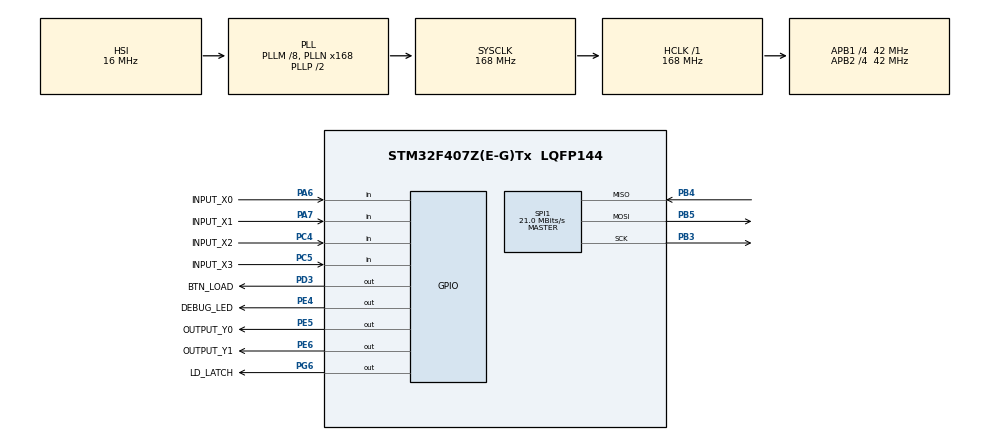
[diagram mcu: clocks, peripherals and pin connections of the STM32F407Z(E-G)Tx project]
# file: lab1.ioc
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Mcu.Family=STM32F4
Mcu.Name=STM32F407Z(E-G)Tx
Mcu.Package=LQFP144
NVIC.PriorityGroup=NVIC_PRIORITYGROUP_4
NVIC.TIM2_IRQn=true\:0\:0\:false\:false\:true\:true\:true
PA13.Mode=Serial_Wire
PA13.Signal=SYS_JTMS-SWDIO
PA14.Mode=Serial_Wire
PA14.Signal=SYS_JTCK-SWCLK
PA6.GPIO_Label=INPUT_X0
PA6.Signal=GPIO_Input
PA7.GPIO_Label=INPUT_X1
PA7.Signal=GPIO_Input
PB3.Mode=Full_Duplex_Master
PB3.Signal=SPI1_SCK
PB4.Mode=Full_Duplex_Master
PB4.Signal=SPI1_MISO
PB5.Mode=Full_Duplex_Master
PB5.Signal=SPI1_MOSI
PC4.GPIO_Label=INPUT_X2
PC4.Signal=GPIO_Input
PC5.GPIO_Label=INPUT_X3
PC5.Signal=GPIO_Input
PD3.GPIO_Label=BTN_LOAD
PD3.Signal=GPIO_Output
PE4.GPIO_Label=DEBUG_LED
PE4.Signal=GPIO_Output
PE5.GPIO_Label=OUTPUT_Y0
PE5.Signal=GPIO_Output
PE6.GPIO_Label=OUTPUT_Y1
PE6.Signal=GPIO_Output
PG6.GPIO_Label=LD_LATCH
PG6.Signal=GPIO_Output
PH0-OSC_IN.Mode=HSE-External-Oscillator
PH0-OSC_IN.Signal=RCC_OSC_IN
PH1-OSC_OUT.Mode=HSE-External-Oscillator
PH1-OSC_OUT.Signal=RCC_OSC_OUT
ProjectManager.HeapSize=0x200
ProjectManager.StackSize=0x400
ProjectManager.TargetToolchain=STM32CubeIDE
RCC.48MHZClocksFreq_Value=84000000
RCC.AHBFreq_Value=168000000
RCC.APB1CLKDivider=RCC_HCLK_DIV4
RCC.APB1Freq_Value=42000000
RCC.APB1TimFreq_Value=84000000
RCC.APB2CLKDivider=RCC_HCLK_DIV4
RCC.APB2Freq_Value=42000000
RCC.APB2TimFreq_Value=84000000
RCC.CortexFreq_Value=168000000
RCC.HCLKFreq_Value=168000000
RCC.HSE_VALUE=8000000
RCC.HSI_VALUE=16000000
RCC.LSE_VALUE=32768
RCC.PLLM=8
RCC.PLLN=168
RCC.SYSCLKFreq_VALUE=168000000
RCC.SYSCLKSource=RCC_SYSCLKSOURCE_PLLCLK
RCC.VCOOutputFreq_Value=336000000
SPI1.CalculateBaudRate=21.0 MBits/s
SPI1.Direction=SPI_DIRECTION_2LINES
SPI1.Mode=SPI_MODE_MASTER
SPI1.VirtualType=VM_MASTER
TIM2.Period=100-1
TIM2.Prescaler=840-1
VP_TIM2_VS_ClockSourceINT.Mode=Internal
board=custom

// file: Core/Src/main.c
/* USER CODE BEGIN Header */
/**
  ******************************************************************************
  * @file           : main.c
  * @brief          : Main program body
  ******************************************************************************
  * @attention
  *
  * <h2><center>&copy; Copyright (c) 2024 STMicroelectronics.
  * All rights reserved.</center></h2>
  *
  * This software component is licensed by ST under BSD 3-Clause license,
  * the "License"; You may not use this file except in compliance with the
  * License. You may obtain a copy of the License at:
  *                        opensource.org/licenses/BSD-3-Clause
  *
  ******************************************************************************
  */
/* USER CODE END Header */
#include "main.h"

/* USER CODE BEGIN PD */
#define COUNT_UP      0
#define COUNT_DOWN    1
#define RED           0
#define GREEN         1
#define YELLOW        2
#define RED_TIMER     5
#define GREEN_TIMER   3
#define YELLOW_TIMER  1

#define LAB1          1000
#define LAB2          2000
/* USER CODE END PD */

SPI_HandleTypeDef hspi1;

TIM_HandleTypeDef htim2;

void SystemClock_Config(void);
static void MX_GPIO_Init(void);
static void MX_TIM2_Init(void);
static void MX_SPI1_Init(void);

/* USER CODE BEGIN 0 */
int traffic_counter = 0;
int traffic_mode = RED;

void red_on() {
	HAL_GPIO_WritePin(DEBUG_LED_GPIO_Port, DEBUG_LED_Pin, GPIO_PIN_SET);
	HAL_GPIO_WritePin(OUTPUT_Y0_GPIO_Port, OUTPUT_Y0_Pin, GPIO_PIN_RESET);
	HAL_GPIO_WritePin(OUTPUT_Y1_GPIO_Port, OUTPUT_Y1_Pin, GPIO_PIN_RESET);
}

void yellow_on() {
	HAL_GPIO_WritePin(DEBUG_LED_GPIO_Port, DEBUG_LED_Pin, GPIO_PIN_RESET);
	HAL_GPIO_WritePin(OUTPUT_Y0_GPIO_Port, OUTPUT_Y0_Pin, GPIO_PIN_SET);
	HAL_GPIO_WritePin(OUTPUT_Y1_GPIO_Port, OUTPUT_Y1_Pin, GPIO_PIN_RESET);
}

void green_on() {
	HAL_GPIO_WritePin(DEBUG_LED_GPIO_Port, DEBUG_LED_Pin, GPIO_PIN_RESET);
	HAL_GPIO_WritePin(OUTPUT_Y0_GPIO_Port, OUTPUT_Y0_Pin, GPIO_PIN_RESET);
	HAL_GPIO_WritePin(OUTPUT_Y1_GPIO_Port, OUTPUT_Y1_Pin, GPIO_PIN_SET);
}
/* USER CODE END 0 */

int main(void)
{

  /* MCU Configuration--------------------------------------------------------*/

  /* Reset of all peripherals, Initializes the Flash interface and the Systick. */
  HAL_Init();

  /* Configure the system clock */
  SystemClock_Config();

  /* Initialize all configured peripherals */
  MX_GPIO_Init();
  MX_TIM2_Init();
  MX_SPI1_Init();

  /* Infinite loop */
  /* USER CODE BEGIN WHILE */
  int exercise = 3;
  int counter = 0;
  int mode = COUNT_UP;

  int traffic_mode = RED;
  int traffic_counter = 0;
  while (1)
  {
    /* USER CODE END WHILE */

    /* USER CODE BEGIN 3 */
  #ifdef LAB1
    if (exercise == 1) {
      HAL_GPIO_WritePin(DEBUG_LED_GPIO_Port, DEBUG_LED_Pin, GPIO_PIN_RESET);
      HAL_Delay(4000);
      HAL_GPIO_WritePin(DEBUG_LED_GPIO_Port, DEBUG_LED_Pin, GPIO_PIN_SET);
      HAL_Delay(2000);
    } else if (exercise == 2) {
      if (mode == COUNT_UP) {
        if (counter == 4) {
          mode = COUNT_DOWN;
          counter = 0;
        } else {
          HAL_GPIO_WritePin(DEBUG_LED_GPIO_Port, DEBUG_LED_Pin, GPIO_PIN_RESET);
          counter++;
        }
      } else if (mode == COUNT_DOWN) {
        if (counter == 2) {
          mode = COUNT_UP;
          counter = 0;
        } else {
          HAL_GPIO_WritePin(DEBUG_LED_GPIO_Port, DEBUG_LED_Pin, GPIO_PIN_SET);
          counter++;
        }
      }
      HAL_Delay(1000);
    } else if (exercise == 3) {
      traffic_counter++;
      if (traffic_mode == RED) {
        red_on();
        if (traffic_counter == RED_TIMER) {
          traffic_mode = GREEN;
          traffic_counter = 0;
          green_on();
        }
      } else if (traffic_mode == GREEN) {
        green_on();
        if (traffic_counter == GREEN_TIMER) {
          traffic_mode = YELLOW;
          traffic_counter = 0;
          yellow_on();
        }
      } else if (traffic_mode == YELLOW) {
        yellow_on();
        if (traffic_counter == YELLOW_TIMER) {
          traffic_mode = RED;
          traffic_counter = 0;
          red_on();
        }
      }
      HAL_Delay(1000);
    }
  #endif

  #ifdef LAB2

  #endif
  }
  /* USER CODE END 3 */
}

void SystemClock_Config(void)
{
  RCC_OscInitTypeDef RCC_OscInitStruct = {0};
  RCC_ClkInitTypeDef RCC_ClkInitStruct = {0};

  /** Configure the main internal regulator output voltage
  */
  __HAL_RCC_PWR_CLK_ENABLE();
  __HAL_PWR_VOLTAGESCALING_CONFIG(PWR_REGULATOR_VOLTAGE_SCALE1);
  /** Initializes the RCC Oscillators according to the specified parameters
  * in the RCC_OscInitTypeDef structure.
  */
  RCC_OscInitStruct.OscillatorType = RCC_OSCILLATORTYPE_HSI;
  RCC_OscInitStruct.HSIState = RCC_HSI_ON;
  RCC_OscInitStruct.HSICalibrationValue = RCC_HSICALIBRATION_DEFAULT;
  RCC_OscInitStruct.PLL.PLLState = RCC_PLL_ON;
  RCC_OscInitStruct.PLL.PLLSource = RCC_PLLSOURCE_HSI;
  RCC_OscInitStruct.PLL.PLLM = 8;
  RCC_OscInitStruct.PLL.PLLN = 168;
  RCC_OscInitStruct.PLL.PLLP = RCC_PLLP_DIV2;
  RCC_OscInitStruct.PLL.PLLQ = 4;
  if (HAL_RCC_OscConfig(&RCC_OscInitStruct) != HAL_OK)
  {
    Error_Handler();
  }
  /** Initializes the CPU, AHB and APB buses clocks
  */
  RCC_ClkInitStruct.ClockType = RCC_CLOCKTYPE_HCLK|RCC_CLOCKTYPE_SYSCLK
                              |RCC_CLOCKTYPE_PCLK1|RCC_CLOCKTYPE_PCLK2;
  RCC_ClkInitStruct.SYSCLKSource = RCC_SYSCLKSOURCE_PLLCLK;
  RCC_ClkInitStruct.AHBCLKDivider = RCC_SYSCLK_DIV1;
  RCC_ClkInitStruct.APB1CLKDivider = RCC_HCLK_DIV4;
  RCC_ClkInitStruct.APB2CLKDivider = RCC_HCLK_DIV4;

  if (HAL_RCC_ClockConfig(&RCC_ClkInitStruct, FLASH_LATENCY_5) != HAL_OK)
  {
    Error_Handler();
  }
}

static void MX_SPI1_Init(void)
{

  /* SPI1 parameter configuration*/
  hspi1.Instance = SPI1;
  hspi1.Init.Mode = SPI_MODE_MASTER;
  hspi1.Init.Direction = SPI_DIRECTION_2LINES;
  hspi1.Init.DataSize = SPI_DATASIZE_8BIT;
  hspi1.Init.CLKPolarity = SPI_POLARITY_LOW;
  hspi1.Init.CLKPhase = SPI_PHASE_1EDGE;
  hspi1.Init.NSS = SPI_NSS_SOFT;
  hspi1.Init.BaudRatePrescaler = SPI_BAUDRATEPRESCALER_2;
  hspi1.Init.FirstBit = SPI_FIRSTBIT_MSB;
  hspi1.Init.TIMode = SPI_TIMODE_DISABLE;
  hspi1.Init.CRCCalculation = SPI_CRCCALCULATION_DISABLE;
  hspi1.Init.CRCPolynomial = 10;
  if (HAL_SPI_Init(&hspi1) != HAL_OK)
  {
    Error_Handler();
  }

}

static void MX_TIM2_Init(void)
{

  TIM_ClockConfigTypeDef sClockSourceConfig = {0};
  TIM_MasterConfigTypeDef sMasterConfig = {0};

  htim2.Instance = TIM2;
  htim2.Init.Prescaler = 840-1;
  htim2.Init.CounterMode = TIM_COUNTERMODE_UP;
  htim2.Init.Period = 100-1;
  htim2.Init.ClockDivision = TIM_CLOCKDIVISION_DIV1;
  htim2.Init.AutoReloadPreload = TIM_AUTORELOAD_PRELOAD_DISABLE;
  if (HAL_TIM_Base_Init(&htim2) != HAL_OK)
  {
    Error_Handler();
  }
  sClockSourceConfig.ClockSource = TIM_CLOCKSOURCE_INTERNAL;
  if (HAL_TIM_ConfigClockSource(&htim2, &sClockSourceConfig) != HAL_OK)
  {
    Error_Handler();
  }
  sMasterConfig.MasterOutputTrigger = TIM_TRGO_RESET;
  sMasterConfig.MasterSlaveMode = TIM_MASTERSLAVEMODE_DISABLE;
  if (HAL_TIMEx_MasterConfigSynchronization(&htim2, &sMasterConfig) != HAL_OK)
  {
    Error_Handler();
  }

}

static void MX_GPIO_Init(void)
{
  GPIO_InitTypeDef GPIO_InitStruct = {0};

  /* GPIO Ports Clock Enable */
  __HAL_RCC_GPIOE_CLK_ENABLE();
  __HAL_RCC_GPIOH_CLK_ENABLE();
  __HAL_RCC_GPIOA_CLK_ENABLE();
  __HAL_RCC_GPIOC_CLK_ENABLE();
  __HAL_RCC_GPIOG_CLK_ENABLE();
  __HAL_RCC_GPIOD_CLK_ENABLE();
  __HAL_RCC_GPIOB_CLK_ENABLE();

  /*Configure GPIO pin Output Level */
  HAL_GPIO_WritePin(GPIOE, DEBUG_LED_Pin|OUTPUT_Y0_Pin|OUTPUT_Y1_Pin, GPIO_PIN_RESET);

  /*Configure GPIO pin Output Level */
  HAL_GPIO_WritePin(LD_LATCH_GPIO_Port, LD_LATCH_Pin, GPIO_PIN_RESET);

  /*Configure GPIO pin Output Level */
  HAL_GPIO_WritePin(BTN_LOAD_GPIO_Port, BTN_LOAD_Pin, GPIO_PIN_RESET);

  /*Configure GPIO pins : DEBUG_LED_Pin OUTPUT_Y0_Pin OUTPUT_Y1_Pin */
  GPIO_InitStruct.Pin = DEBUG_LED_Pin|OUTPUT_Y0_Pin|OUTPUT_Y1_Pin;
  GPIO_InitStruct.Mode = GPIO_MODE_OUTPUT_PP;
  GPIO_InitStruct.Pull = GPIO_NOPULL;
  GPIO_InitStruct.Speed = GPIO_SPEED_FREQ_LOW;
  HAL_GPIO_Init(GPIOE, &GPIO_InitStruct);

  /*Configure GPIO pins : INPUT_X0_Pin INPUT_X1_Pin */
  GPIO_InitStruct.Pin = INPUT_X0_Pin|INPUT_X1_Pin;
  GPIO_InitStruct.Mode = GPIO_MODE_INPUT;
  GPIO_InitStruct.Pull = GPIO_NOPULL;
  HAL_GPIO_Init(GPIOA, &GPIO_InitStruct);

  /*Configure GPIO pins : INPUT_X2_Pin INPUT_X3_Pin */
  GPIO_InitStruct.Pin = INPUT_X2_Pin|INPUT_X3_Pin;
  GPIO_InitStruct.Mode = GPIO_MODE_INPUT;
  GPIO_InitStruct.Pull = GPIO_NOPULL;
  HAL_GPIO_Init(GPIOC, &GPIO_InitStruct);

  /*Configure GPIO pin : LD_LATCH_Pin */
  GPIO_InitStruct.Pin = LD_LATCH_Pin;
  GPIO_InitStruct.Mode = GPIO_MODE_OUTPUT_PP;
  GPIO_InitStruct.Pull = GPIO_NOPULL;
  GPIO_InitStruct.Speed = GPIO_SPEED_FREQ_LOW;
  HAL_GPIO_Init(LD_LATCH_GPIO_Port, &GPIO_InitStruct);

  /*Configure GPIO pin : BTN_LOAD_Pin */
  GPIO_InitStruct.Pin = BTN_LOAD_Pin;
  GPIO_InitStruct.Mode = GPIO_MODE_OUTPUT_PP;
  GPIO_InitStruct.Pull = GPIO_NOPULL;
  GPIO_InitStruct.Speed = GPIO_SPEED_FREQ_LOW;
  HAL_GPIO_Init(BTN_LOAD_GPIO_Port, &GPIO_InitStruct);

}

void Error_Handler(void)
{
  __disable_irq();
  while (1)
  {
  }
}

/************************ (C) COPYRIGHT STMicroelectronics *****END OF FILE****/
